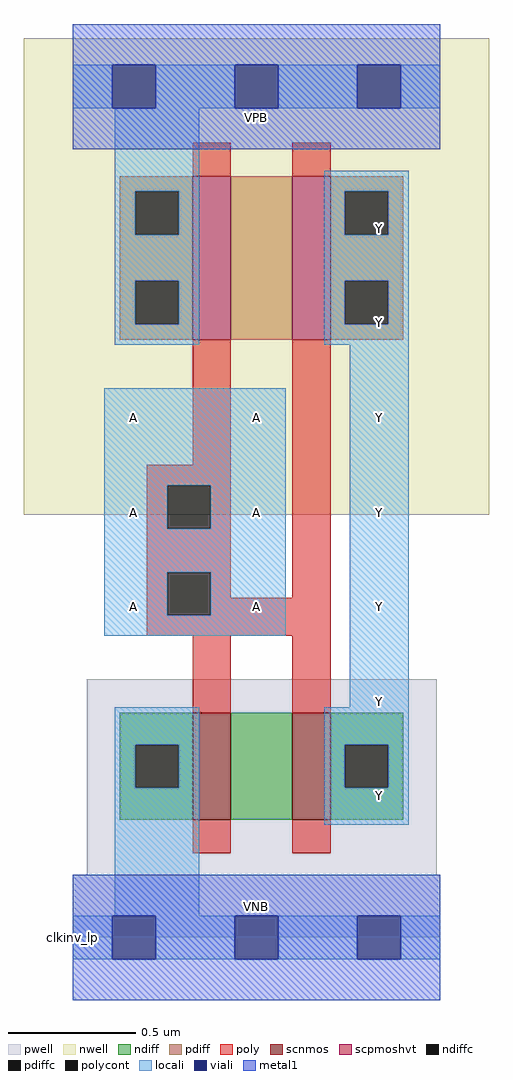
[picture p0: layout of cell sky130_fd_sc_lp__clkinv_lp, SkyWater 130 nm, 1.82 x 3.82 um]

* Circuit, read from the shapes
.subckt sky130_fd_sc_lp__clkinv_lp A VGND VNB VPB VPWR Y
XM1 n1 A VGND VNB sky130_fd_pr__nfet_01v8 w=0.42 l=0.15
XM2 Y A n1 VNB sky130_fd_pr__nfet_01v8 w=0.42 l=0.15
XM3 n2 A VPWR VPB sky130_fd_pr__pfet_01v8_hvt w=0.64 l=0.15
XM4 Y A n2 VPB sky130_fd_pr__pfet_01v8_hvt w=0.64 l=0.15
.ends

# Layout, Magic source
magic
tech sky130A
magscale 1 2
<< nwell >>
rect -38 331 326 704
<< pwell >>
rect 11 49 285 202
rect 0 0 288 49
<< scnmos >>
rect 94 92 124 176
rect 172 92 202 176
<< scpmoshvt >>
rect 94 468 124 596
rect 172 468 202 596
<< ndiff >>
rect 37 151 94 176
rect 37 117 49 151
rect 83 117 94 151
rect 37 92 94 117
rect 124 92 172 176
rect 202 151 259 176
rect 202 117 213 151
rect 247 117 259 151
rect 202 92 259 117
<< pdiff >>
rect 37 584 94 596
rect 37 550 49 584
rect 83 550 94 584
rect 37 514 94 550
rect 37 480 49 514
rect 83 480 94 514
rect 37 468 94 480
rect 124 468 172 596
rect 202 584 259 596
rect 202 550 213 584
rect 247 550 259 584
rect 202 514 259 550
rect 202 480 213 514
rect 247 480 259 514
rect 202 468 259 480
<< ndiffc >>
rect 49 117 83 151
rect 213 117 247 151
<< pdiffc >>
rect 49 550 83 584
rect 49 480 83 514
rect 213 550 247 584
rect 213 480 247 514
<< poly >>
rect 94 596 124 622
rect 172 596 202 622
rect 94 370 124 468
rect 58 354 124 370
rect 58 320 74 354
rect 108 320 124 354
rect 58 286 124 320
rect 58 252 74 286
rect 108 266 124 286
rect 172 266 202 468
rect 108 252 202 266
rect 58 236 202 252
rect 94 176 124 236
rect 172 176 202 236
rect 94 66 124 92
rect 172 66 202 92
<< polycont >>
rect 74 320 108 354
rect 74 252 108 286
<< locali >>
rect 0 649 31 683
rect 65 649 127 683
rect 161 649 223 683
rect 257 649 288 683
rect 33 584 99 649
rect 33 550 49 584
rect 83 550 99 584
rect 33 514 99 550
rect 33 480 49 514
rect 83 480 99 514
rect 33 464 99 480
rect 197 584 263 600
rect 197 550 213 584
rect 247 550 263 584
rect 197 514 263 550
rect 197 480 213 514
rect 247 480 263 514
rect 197 464 263 480
rect 25 354 167 430
rect 25 320 74 354
rect 108 320 167 354
rect 25 286 167 320
rect 25 252 74 286
rect 108 252 167 286
rect 25 236 167 252
rect 217 180 263 464
rect 33 151 99 180
rect 33 117 49 151
rect 83 117 99 151
rect 33 17 99 117
rect 197 151 263 180
rect 197 117 213 151
rect 247 117 263 151
rect 197 88 263 117
rect 0 -17 31 17
rect 65 -17 127 17
rect 161 -17 223 17
rect 257 -17 288 17
<< viali >>
rect 31 649 65 683
rect 127 649 161 683
rect 223 649 257 683
rect 31 -17 65 17
rect 127 -17 161 17
rect 223 -17 257 17
<< metal1 >>
rect 0 683 288 715
rect 0 649 31 683
rect 65 649 127 683
rect 161 649 223 683
rect 257 649 288 683
rect 0 617 288 649
rect 0 17 288 49
rect 0 -17 31 17
rect 65 -17 127 17
rect 161 -17 223 17
rect 257 -17 288 17
rect 0 -49 288 -17
<< labels >>
flabel pwell s 0 0 288 49 0 FreeSans 200 0 0 0 VNB
port 3 nsew ground bidirectional
flabel nwell s 0 617 288 666 0 FreeSans 200 0 0 0 VPB
port 4 nsew power bidirectional
rlabel comment s 0 0 0 0 4 clkinv_lp
flabel metal1 s 0 617 288 666 0 FreeSans 340 0 0 0 VPWR
port 5 nsew power bidirectional
flabel metal1 s 0 0 288 49 0 FreeSans 340 0 0 0 VGND
port 2 nsew ground bidirectional
flabel locali s 31 242 65 276 0 FreeSans 340 0 0 0 A
port 1 nsew signal input
flabel locali s 31 316 65 350 0 FreeSans 340 0 0 0 A
port 1 nsew signal input
flabel locali s 31 390 65 424 0 FreeSans 340 0 0 0 A
port 1 nsew signal input
flabel locali s 127 242 161 276 0 FreeSans 340 0 0 0 A
port 1 nsew signal input
flabel locali s 127 316 161 350 0 FreeSans 340 0 0 0 A
port 1 nsew signal input
flabel locali s 127 390 161 424 0 FreeSans 340 0 0 0 A
port 1 nsew signal input
flabel locali s 223 94 257 128 0 FreeSans 340 0 0 0 Y
port 6 nsew signal output
flabel locali s 223 168 257 202 0 FreeSans 340 0 0 0 Y
port 6 nsew signal output
flabel locali s 223 242 257 276 0 FreeSans 340 0 0 0 Y
port 6 nsew signal output
flabel locali s 223 316 257 350 0 FreeSans 340 0 0 0 Y
port 6 nsew signal output
flabel locali s 223 390 257 424 0 FreeSans 340 0 0 0 Y
port 6 nsew signal output
flabel locali s 223 464 257 498 0 FreeSans 340 0 0 0 Y
port 6 nsew signal output
flabel locali s 223 538 257 572 0 FreeSans 340 0 0 0 Y
port 6 nsew signal output
<< properties >>
string LEFsite unit
string LEFclass CORE
string FIXED_BBOX 0 0 288 666
string GDS_FILE $PDKPATH/libs.ref/sky130_fd_sc_lp/gds/sky130_fd_sc_lp.gds
string LEFsymmetry X Y R90
string GDS_END 4702718
string GDS_START 4698296
<< end >>
